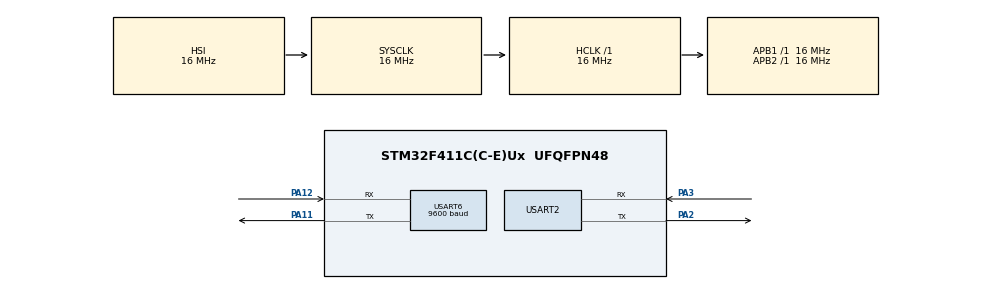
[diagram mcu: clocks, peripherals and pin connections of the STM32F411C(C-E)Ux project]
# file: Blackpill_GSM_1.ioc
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Dma.Request0=USART2_TX
Dma.Request1=USART6_RX
Dma.USART2_TX.0.Direction=DMA_MEMORY_TO_PERIPH
Dma.USART2_TX.0.FIFOMode=DMA_FIFOMODE_DISABLE
Dma.USART2_TX.0.Instance=DMA1_Stream6
Dma.USART2_TX.0.MemDataAlignment=DMA_MDATAALIGN_BYTE
Dma.USART2_TX.0.MemInc=DMA_MINC_ENABLE
Dma.USART2_TX.0.Mode=DMA_NORMAL
Dma.USART2_TX.0.PeriphDataAlignment=DMA_PDATAALIGN_BYTE
Dma.USART2_TX.0.PeriphInc=DMA_PINC_DISABLE
Dma.USART2_TX.0.Priority=DMA_PRIORITY_LOW
Dma.USART6_RX.1.Direction=DMA_PERIPH_TO_MEMORY
Dma.USART6_RX.1.FIFOMode=DMA_FIFOMODE_DISABLE
Dma.USART6_RX.1.Instance=DMA2_Stream1
Dma.USART6_RX.1.MemDataAlignment=DMA_MDATAALIGN_BYTE
Dma.USART6_RX.1.MemInc=DMA_MINC_ENABLE
Dma.USART6_RX.1.Mode=DMA_NORMAL
Dma.USART6_RX.1.PeriphDataAlignment=DMA_PDATAALIGN_BYTE
Dma.USART6_RX.1.PeriphInc=DMA_PINC_DISABLE
Dma.USART6_RX.1.Priority=DMA_PRIORITY_LOW
FREERTOS.BinarySemaphores01=txdReadySema,Dynamic,NULL
FREERTOS.CountingSemaphores01=availRowCntrSem,8,Dynamic,NULL
FREERTOS.Tasks01=defaultTask,24,128,StartDefaultTask,Default,NULL,Dynamic,NULL,NULL;sendGsmTask,8,128,StartSendGsmTask,Default,NULL,Dynamic,NULL,NULL;parseGsmTask,8,128,StartParseGsmTask,Default,NULL,Dynamic,NULL,NULL;gsmCtrlTask,8,128,StartGsmCtrlTask,Default,NULL,Dynamic,NULL,NULL
Mcu.Family=STM32F4
Mcu.Name=STM32F411C(C-E)Ux
Mcu.Package=UFQFPN48
NVIC.DMA1_Stream6_IRQn=true\:5\:0\:false\:false\:true\:true\:false\:true
NVIC.DMA2_Stream1_IRQn=true\:5\:0\:false\:false\:true\:true\:false\:true
NVIC.PriorityGroup=NVIC_PRIORITYGROUP_4
NVIC.TIM5_IRQn=true\:15\:0\:false\:false\:true\:false\:false\:true
NVIC.TimeBase=TIM5_IRQn
NVIC.TimeBaseIP=TIM5
NVIC.USART6_IRQn=true\:5\:0\:false\:false\:true\:true\:true\:true
PA11.Mode=Asynchronous
PA11.Signal=USART6_TX
PA12.Mode=Asynchronous
PA12.Signal=USART6_RX
PA2.Mode=Asynchronous
PA2.Signal=USART2_TX
PA3.Mode=Asynchronous
PA3.Signal=USART2_RX
ProjectManager.HeapSize=0x200
ProjectManager.StackSize=0x400
ProjectManager.TargetToolchain=STM32CubeIDE
RCC.AHBFreq_Value=16000000
RCC.APB1Freq_Value=16000000
RCC.APB2Freq_Value=16000000
RCC.CortexFreq_Value=16000000
RCC.HSE_VALUE=25000000
RCC.HSI_VALUE=16000000
RCC.LSE_VALUE=32768
RCC.SYSCLKFreq_VALUE=16000000
RCC.VCOOutputFreq_Value=192000000
USART2.VirtualMode=VM_ASYNC
USART6.BaudRate=9600
USART6.VirtualMode=VM_ASYNC
VP_FREERTOS_VS_CMSIS_V2.Mode=CMSIS_V2
VP_SYS_VS_tim5.Mode=TIM5
board=custom

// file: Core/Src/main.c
/* USER CODE BEGIN Header */
/**
  ******************************************************************************
  * @file           : main.c
  * @brief          : Main program body
  ******************************************************************************
  * @attention
  *
  * <h2><center>&copy; Copyright (c) 2021 STMicroelectronics.
  * All rights reserved.</center></h2>
  *
  * This software component is licensed by ST under BSD 3-Clause license,
  * the "License"; You may not use this file except in compliance with the
  * License. You may obtain a copy of the License at:
  *                        opensource.org/licenses/BSD-3-Clause
  *
  *
  * https://circuitdigest.com/microcontroller-projects/interfacing-sim800c-with-stm32f103c8-to-send-and-receive-sms
  *
  ******************************************************************************
  */
/* USER CODE END Header */
#include "main.h"
#include "cmsis_os.h"

/* USER CODE BEGIN Includes */
#include <string.h>
#include <stdio.h>
#include <stdbool.h>

#include "at_state_machine.h"
/* USER CODE END Includes */

/* USER CODE BEGIN PTD */
#define MSG_ROW_LEN   255
#define MSG_ROWS      8
#define RX_BUF_SIZE   512
#define TX_BUF_SIZE   80
#define MAIN_BUF_SIZE 2048

typedef struct
{
	uint32_t TimeStamp;
	uint16_t DataLen;
	uint8_t  Source;
	uint8_t  Data[MSG_ROW_LEN];
} MsgData_st;

typedef struct
{
	MsgData_st Row[MSG_ROWS];
	uint8_t    head_indx;
	uint8_t    tail_indx;
} MsgBook_st;

/* USER CODE END PTD */

UART_HandleTypeDef huart2;
UART_HandleTypeDef huart6;
DMA_HandleTypeDef hdma_usart2_tx;
DMA_HandleTypeDef hdma_usart6_rx;

/* Definitions for defaultTask */
osThreadId_t defaultTaskHandle;
const osThreadAttr_t defaultTask_attributes = {
  .name = "defaultTask",
  .stack_size = 128 * 4,
  .priority = (osPriority_t) osPriorityNormal,
};
/* Definitions for sendGsmTask */
osThreadId_t sendGsmTaskHandle;
const osThreadAttr_t sendGsmTask_attributes = {
  .name = "sendGsmTask",
  .stack_size = 128 * 4,
  .priority = (osPriority_t) osPriorityLow,
};
/* Definitions for parseGsmTask */
osThreadId_t parseGsmTaskHandle;
const osThreadAttr_t parseGsmTask_attributes = {
  .name = "parseGsmTask",
  .stack_size = 128 * 4,
  .priority = (osPriority_t) osPriorityLow,
};
/* Definitions for gsmCtrlTask */
osThreadId_t gsmCtrlTaskHandle;
const osThreadAttr_t gsmCtrlTask_attributes = {
  .name = "gsmCtrlTask",
  .stack_size = 128 * 4,
  .priority = (osPriority_t) osPriorityLow,
};
/* Definitions for txdReadySema */
osSemaphoreId_t txdReadySemaHandle;
const osSemaphoreAttr_t txdReadySema_attributes = {
  .name = "txdReadySema"
};
/* Definitions for availRowCntrSem */
osSemaphoreId_t availRowCntrSemHandle;
const osSemaphoreAttr_t availRowCntrSem_attributes = {
  .name = "availRowCntrSem"
};

void SystemClock_Config(void);
static void MX_GPIO_Init(void);
static void MX_DMA_Init(void);
static void MX_USART2_UART_Init(void);
static void MX_USART6_UART_Init(void);
void StartDefaultTask(void *argument);
void StartSendGsmTask(void *argument);
void StartParseGsmTask(void *argument);
void StartGsmCtrlTask(void *argument);

/* USER CODE BEGIN 0 */
uint8_t RxBuf1[RX_BUF_SIZE];
uint8_t RxBuf6[RX_BUF_SIZE];
//uint8_t RxBuf2[RX_BUF_SIZE];
char    TxBuf2[TX_BUF_SIZE];

//uint8_t MainBuf[MAIN_BUF_SIZE];

MsgBook_st MsgBook;
uint32_t millis = 0;
bool     uart2_tx_done;

void HAL_UARTEx_RxEventCallback(UART_HandleTypeDef *huart, uint16_t Size)
{
	if (huart->Instance == USART6)
	{
		//HAL_GPIO_TogglePin(LED_BLUE_GPIO_Port, LED_BLUE_Pin);
		MsgBook.Row[MsgBook.head_indx].Source = 6;
		MsgBook.Row[MsgBook.head_indx].DataLen = Size;
		MsgBook.Row[MsgBook.head_indx].TimeStamp = millis;
		memcpy(MsgBook.Row[MsgBook.head_indx].Data, RxBuf6, Size);

		MsgBook.head_indx++;
		if (MsgBook.head_indx >= MSG_ROWS)
		{
			MsgBook.head_indx = 0;
		}
		osSemaphoreRelease(availRowCntrSemHandle);

		/* start the DMA again */
		HAL_UARTEx_ReceiveToIdle_DMA(&huart6, (uint8_t *) RxBuf6, RX_BUF_SIZE);
		__HAL_DMA_DISABLE_IT(&hdma_usart6_rx, DMA_IT_HT);
	}

}

void HAL_UART_TxCpltCallback(UART_HandleTypeDef *huart)
{
	if (huart->Instance == USART2)
	{
		osSemaphoreRelease(txdReadySemaHandle);
		uart2_tx_done = true;
		__HAL_DMA_DISABLE_IT(&hdma_usart2_tx, DMA_IT_HT);
	}
}

/* USER CODE END 0 */

int main(void)
{
  /* USER CODE BEGIN 1 */
	char txt[80];
  /* USER CODE END 1 */

  /* MCU Configuration--------------------------------------------------------*/

  /* Reset of all peripherals, Initializes the Flash interface and the Systick. */
  HAL_Init();

  /* Configure the system clock */
  SystemClock_Config();

  /* Initialize all configured peripherals */
  MX_GPIO_Init();
  MX_DMA_Init();
  MX_USART2_UART_Init();
  MX_USART6_UART_Init();
  /* USER CODE BEGIN 2 */

  memset(&MsgBook,0x00,sizeof(MsgBook));

  HAL_UART_MspInit(&huart2);
  memset(TxBuf2, 0x00, TX_BUF_SIZE);

  HAL_UARTEx_ReceiveToIdle_DMA(&huart6, RxBuf6, RX_BUF_SIZE);
  __HAL_DMA_DISABLE_IT(&hdma_usart6_rx, DMA_IT_HT);

	sprintf(txt,"Blackpill GSM 1\r\n");
	HAL_UART_Transmit(&huart2, (uint8_t*)txt, strlen(txt),HAL_MAX_DELAY);

  /* USER CODE END 2 */

  /* Init scheduler */
  osKernelInitialize();

  /* Create the semaphores(s) */
  /* creation of txdReadySema */
  txdReadySemaHandle = osSemaphoreNew(1, 1, &txdReadySema_attributes);

  /* creation of availRowCntrSem */
  availRowCntrSemHandle = osSemaphoreNew(8, 8, &availRowCntrSem_attributes);

  /* Create the thread(s) */
  /* creation of defaultTask */
  defaultTaskHandle = osThreadNew(StartDefaultTask, NULL, &defaultTask_attributes);

  /* creation of sendGsmTask */
  sendGsmTaskHandle = osThreadNew(StartSendGsmTask, NULL, &sendGsmTask_attributes);

  /* creation of parseGsmTask */
  parseGsmTaskHandle = osThreadNew(StartParseGsmTask, NULL, &parseGsmTask_attributes);

  /* creation of gsmCtrlTask */
  gsmCtrlTaskHandle = osThreadNew(StartGsmCtrlTask, NULL, &gsmCtrlTask_attributes);

  /* Start scheduler */
  osKernelStart();

  /* We should never get here as control is now taken by the scheduler */
  /* Infinite loop */
  while (1)
  {

  }
}

void SystemClock_Config(void)
{
  RCC_OscInitTypeDef RCC_OscInitStruct = {0};
  RCC_ClkInitTypeDef RCC_ClkInitStruct = {0};

  /** Configure the main internal regulator output voltage
  */
  __HAL_RCC_PWR_CLK_ENABLE();
  __HAL_PWR_VOLTAGESCALING_CONFIG(PWR_REGULATOR_VOLTAGE_SCALE1);
  /** Initializes the RCC Oscillators according to the specified parameters
  * in the RCC_OscInitTypeDef structure.
  */
  RCC_OscInitStruct.OscillatorType = RCC_OSCILLATORTYPE_HSI;
  RCC_OscInitStruct.HSIState = RCC_HSI_ON;
  RCC_OscInitStruct.HSICalibrationValue = RCC_HSICALIBRATION_DEFAULT;
  RCC_OscInitStruct.PLL.PLLState = RCC_PLL_NONE;
  if (HAL_RCC_OscConfig(&RCC_OscInitStruct) != HAL_OK)
  {
    Error_Handler();
  }
  /** Initializes the CPU, AHB and APB buses clocks
  */
  RCC_ClkInitStruct.ClockType = RCC_CLOCKTYPE_HCLK|RCC_CLOCKTYPE_SYSCLK
                              |RCC_CLOCKTYPE_PCLK1|RCC_CLOCKTYPE_PCLK2;
  RCC_ClkInitStruct.SYSCLKSource = RCC_SYSCLKSOURCE_HSI;
  RCC_ClkInitStruct.AHBCLKDivider = RCC_SYSCLK_DIV1;
  RCC_ClkInitStruct.APB1CLKDivider = RCC_HCLK_DIV1;
  RCC_ClkInitStruct.APB2CLKDivider = RCC_HCLK_DIV1;

  if (HAL_RCC_ClockConfig(&RCC_ClkInitStruct, FLASH_LATENCY_0) != HAL_OK)
  {
    Error_Handler();
  }
}

static void MX_USART2_UART_Init(void)
{

  huart2.Instance = USART2;
  huart2.Init.BaudRate = 115200;
  huart2.Init.WordLength = UART_WORDLENGTH_8B;
  huart2.Init.StopBits = UART_STOPBITS_1;
  huart2.Init.Parity = UART_PARITY_NONE;
  huart2.Init.Mode = UART_MODE_TX_RX;
  huart2.Init.HwFlowCtl = UART_HWCONTROL_NONE;
  huart2.Init.OverSampling = UART_OVERSAMPLING_16;
  if (HAL_UART_Init(&huart2) != HAL_OK)
  {
    Error_Handler();
  }

}

static void MX_USART6_UART_Init(void)
{

  huart6.Instance = USART6;
  huart6.Init.BaudRate = 9600;
  huart6.Init.WordLength = UART_WORDLENGTH_8B;
  huart6.Init.StopBits = UART_STOPBITS_1;
  huart6.Init.Parity = UART_PARITY_NONE;
  huart6.Init.Mode = UART_MODE_TX_RX;
  huart6.Init.HwFlowCtl = UART_HWCONTROL_NONE;
  huart6.Init.OverSampling = UART_OVERSAMPLING_16;
  if (HAL_UART_Init(&huart6) != HAL_OK)
  {
    Error_Handler();
  }

}

static void MX_DMA_Init(void)
{

  /* DMA controller clock enable */
  __HAL_RCC_DMA1_CLK_ENABLE();
  __HAL_RCC_DMA2_CLK_ENABLE();

  /* DMA interrupt init */
  /* DMA1_Stream6_IRQn interrupt configuration */
  HAL_NVIC_SetPriority(DMA1_Stream6_IRQn, 5, 0);
  HAL_NVIC_EnableIRQ(DMA1_Stream6_IRQn);
  /* DMA2_Stream1_IRQn interrupt configuration */
  HAL_NVIC_SetPriority(DMA2_Stream1_IRQn, 5, 0);
  HAL_NVIC_EnableIRQ(DMA2_Stream1_IRQn);

}

static void MX_GPIO_Init(void)
{

  /* GPIO Ports Clock Enable */
  __HAL_RCC_GPIOA_CLK_ENABLE();

}

void StartDefaultTask(void *argument)
{
  for(;;)
  {
    osDelay(1);
  }
}

void StartSendGsmTask(void *argument)
{
  /* USER CODE BEGIN StartSendGsmTask */
	char txt[40];

	at_sm_initialize(&huart6);

  /* Infinite loop */
  for(;;)
  {
	  sprintf(txt,"AT\r\n");
      HAL_UART_Transmit(&huart2, (uint8_t*)txt, strlen(txt),HAL_MAX_DELAY);
	  	at_sm_main();
    osDelay(2000);
  }
  /* USER CODE END StartSendGsmTask */
}

void StartParseGsmTask(void *argument)
{
  for(;;)
  {
    osDelay(1);
  }
}

void StartGsmCtrlTask(void *argument)
{
  for(;;)
  {
    osDelay(1);
  }
}

void HAL_TIM_PeriodElapsedCallback(TIM_HandleTypeDef *htim)
{
  if (htim->Instance == TIM5) {
    HAL_IncTick();
  }
}

void Error_Handler(void)
{
  __disable_irq();
  while (1)
  {
  }
}

/************************ (C) COPYRIGHT STMicroelectronics *****END OF FILE****/
